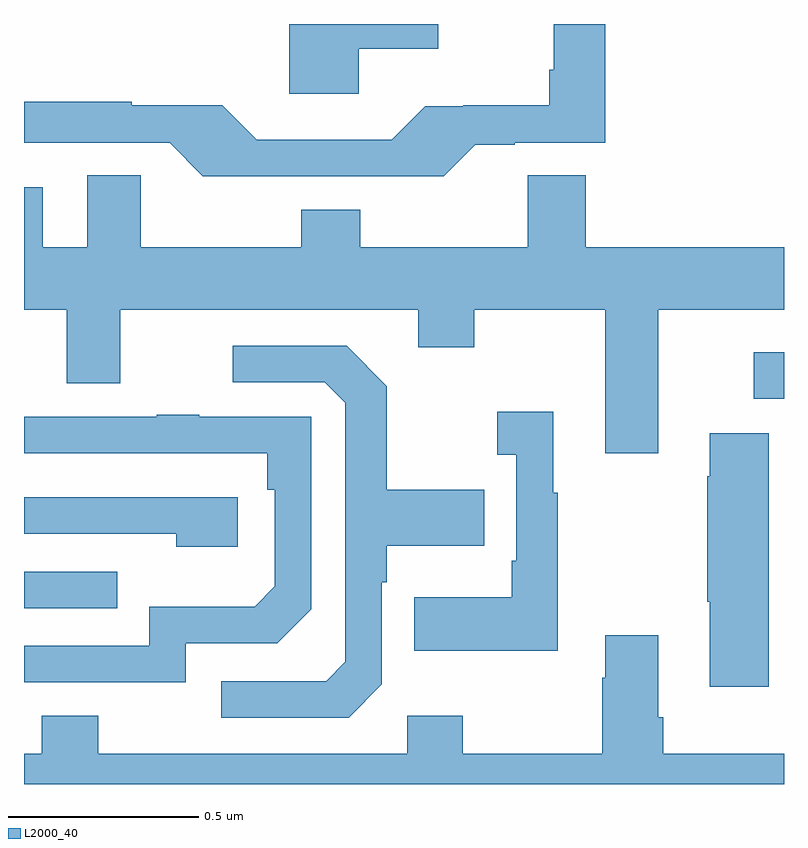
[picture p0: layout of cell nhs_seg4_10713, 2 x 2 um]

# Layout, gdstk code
import gdstk
lib = gdstk.Library(unit=1e-6, precision=1e-09)
def R(c, l, rs):  # rectangles x0, y0, x1, y1
    for r in rs: c.add(gdstk.rectangle(r[:2], r[2:], *l))
def P(c, l, *ps):  # polygons
    for p in ps: c.add(gdstk.Polygon(p, *l))
L2000_40 = (2000, 40)

nhs_seg4_10713 = lib.new_cell('nhs_seg4_10713')
R(nhs_seg4_10713, L2000_40, [(243,801.363,243.245,801.459), (244.92,801.914,245,802.036)])
P(nhs_seg4_10713, L2000_40, [(243.571,802.5),(244.004,802.5),(244.004,802.499),(244.104,802.499),(244.187,802.582),(244.291,802.582),(244.291,802.587),(244.529,802.587),(244.529,802.9),(244.394,802.9),(244.394,802.78),(244.382,802.78),(244.382,802.686),(244.156,802.686),(244.156,802.684),(244.056,802.684),(243.968,802.596),(243.612,802.596),(243.522,802.686),(243.284,802.686),(243.284,802.696),(243,802.696),(243,802.587),(243.383,802.587),(243.471,802.499),(243.571,802.499)],
  [(243.881,802.835),(244.09,802.835),(244.09,802.9),(243.698,802.9),(243.698,802.716),(243.881,802.716)],
  [(244.669,802.148),(245,802.148),(245,802.312),(244.478,802.312),(244.478,802.502),(244.325,802.502),(244.325,802.312),(243.885,802.312),(243.885,802.411),(243.73,802.411),(243.73,802.312),(243.307,802.312),(243.307,802.502),(243.167,802.502),(243.167,802.312),(243.049,802.312),(243.049,802.471),(243,802.471),(243,802.148),(243.113,802.148),(243.113,801.954),(243.253,801.954),(243.253,802.148),(244.037,802.148),(244.037,802.049),(244.185,802.049),(244.185,802.148),(244.529,802.148),(244.529,801.771),(244.669,801.771)],
  [(243.942,801.162),(243.942,801.431),(243.955,801.431),(243.955,801.527),(244.211,801.527),(244.211,801.675),(243.955,801.675),(243.955,801.947),(243.849,802.053),(243.549,802.053),(243.549,801.957),(243.792,801.957),(243.846,801.903),(243.846,801.222),(243.795,801.171),(243.519,801.171),(243.519,801.075),(243.855,801.075)],
  [(244.405,801.667),(244.393,801.667),(244.393,801.88),(244.245,801.88),(244.245,801.767),(244.296,801.767),(244.296,801.487),(244.284,801.487),(244.284,801.391),(244.027,801.391),(244.027,801.251),(244.405,801.251)],
  [(243.426,801.27),(243.666,801.27),(243.756,801.36),(243.756,801.867),(243.461,801.867),(243.461,801.872),(243.349,801.872),(243.349,801.867),(243,801.867),(243,801.771),(243.64,801.771),(243.64,801.674),(243.66,801.674),(243.66,801.42),(243.607,801.367),(243.33,801.367),(243.33,801.264),(243,801.264),(243,801.168),(243.426,801.168)],
  [(244.96,801.823),(244.805,801.823),(244.805,801.71),(244.798,801.71),(244.798,801.379),(244.805,801.379),(244.805,801.156),(244.96,801.156)],
  [(243.562,801.654),(243,801.654),(243,801.558),(243.401,801.558),(243.401,801.524),(243.562,801.524)],
  [(245,800.98),(244.682,800.98),(244.682,801.076),(244.669,801.076),(244.669,801.292),(244.529,801.292),(244.529,801.179),(244.522,801.179),(244.522,800.98),(244.155,800.98),(244.155,801.079),(244.008,801.079),(244.008,800.98),(243.195,800.98),(243.195,801.079),(243.047,801.079),(243.047,800.98),(243,800.98),(243,800.9),(245,800.9)])

lib.write_gds('nhs_seg4_10713.gds')
